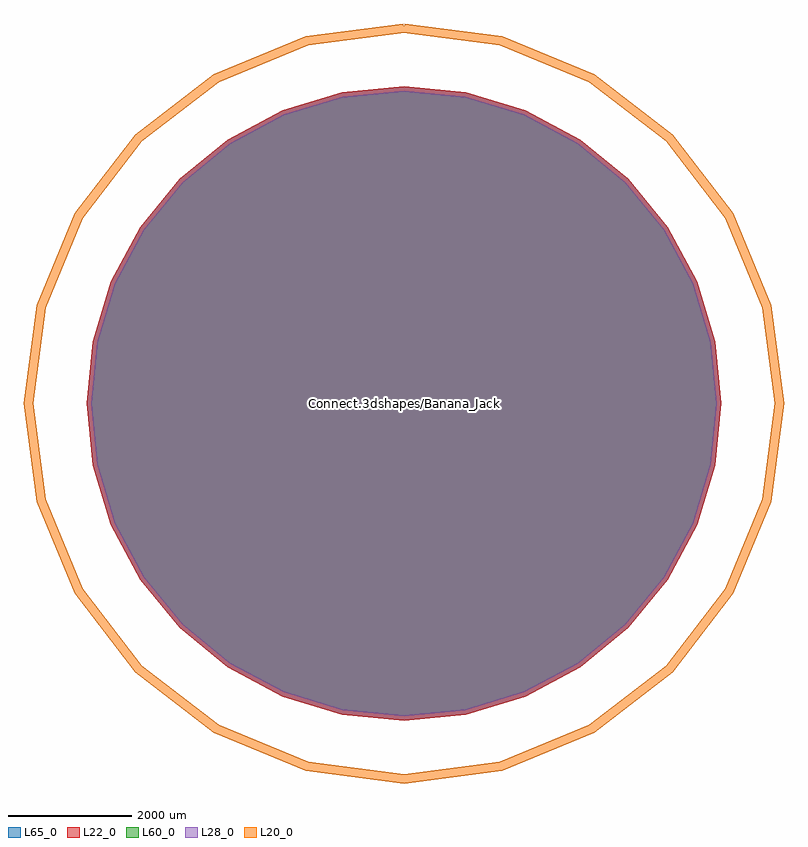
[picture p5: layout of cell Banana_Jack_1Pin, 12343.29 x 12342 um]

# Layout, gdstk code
import gdstk
lib = gdstk.Library(unit=1e-6, precision=1e-09)
def P(c, l, *ps):  # polygons
    for p in ps: c.add(gdstk.Polygon(p, *l))
L20_0 = (20, 0)
L22_0 = (22, 0)
L28_0 = (28, 0)
L60_0 = (60, 0)
L65_0 = (65, 0)

banana_jack_1pin = lib.new_cell('Banana_Jack_1Pin')
P(banana_jack_1pin, L22_0, [(5155,0),(5055.948,1005.691),(4762.599,1972.733),(4286.226,2863.965),(3645.135,3645.135),(2863.965,4286.226),(1972.733,4762.599),(1005.691,5055.948),(0,5155),(-1005.691,5055.948),(-1972.733,4762.599),(-2863.965,4286.226),(-3645.135,3645.135),(-4286.226,2863.965),(-4762.599,1972.733),(-5055.948,1005.691),(-5155,0),(-5055.948,-1005.691),(-4762.599,-1972.733),(-4286.226,-2863.965),(-3645.135,-3645.135),(-2863.965,-4286.226),(-1972.733,-4762.599),(-1005.691,-5055.948),(0,-5155),(1005.691,-5055.948),(1972.733,-4762.599),(2863.965,-4286.226),(3645.135,-3645.135),(4286.226,-2863.965),(4762.599,-1972.733),(5055.948,-1005.691)])
P(banana_jack_1pin, L28_0, [(5080,0),(4982.389,991.059),(4693.308,1944.032),(4223.866,2822.297),(3592.102,3592.102),(2822.297,4223.866),(1944.032,4693.308),(991.059,4982.389),(0,5080),(-991.059,4982.389),(-1944.032,4693.308),(-2822.297,4223.866),(-3592.102,3592.102),(-4223.866,2822.297),(-4693.308,1944.032),(-4982.389,991.059),(-5080,0),(-4982.389,-991.059),(-4693.308,-1944.032),(-4223.866,-2822.297),(-3592.102,-3592.102),(-2822.297,-4223.866),(-1944.032,-4693.308),(-991.059,-4982.389),(0,-5080),(991.059,-4982.389),(1944.032,-4693.308),(2822.297,-4223.866),(3592.102,-3592.102),(4223.866,-2822.297),(4693.308,-1944.032),(4982.389,-991.059)])
P(banana_jack_1pin, L60_0, [(5080,0),(4982.389,991.059),(4693.308,1944.032),(4223.866,2822.297),(3592.102,3592.102),(2822.297,4223.866),(1944.032,4693.308),(991.059,4982.389),(0,5080),(-991.059,4982.389),(-1944.032,4693.308),(-2822.297,4223.866),(-3592.102,3592.102),(-4223.866,2822.297),(-4693.308,1944.032),(-4982.389,991.059),(-5080,0),(-4982.389,-991.059),(-4693.308,-1944.032),(-4223.866,-2822.297),(-3592.102,-3592.102),(-2822.297,-4223.866),(-1944.032,-4693.308),(-991.059,-4982.389),(0,-5080),(991.059,-4982.389),(1944.032,-4693.308),(2822.297,-4223.866),(3592.102,-3592.102),(4223.866,-2822.297),(4693.308,-1944.032),(4982.389,-991.059)])
P(banana_jack_1pin, L65_0, [(5155,0),(5055.948,1005.691),(4762.599,1972.733),(4286.226,2863.965),(3645.135,3645.135),(2863.965,4286.226),(1972.733,4762.599),(1005.691,5055.948),(0,5155),(-1005.691,5055.948),(-1972.733,4762.599),(-2863.965,4286.226),(-3645.135,3645.135),(-4286.226,2863.965),(-4762.599,1972.733),(-5055.948,1005.691),(-5155,0),(-5055.948,-1005.691),(-4762.599,-1972.733),(-4286.226,-2863.965),(-3645.135,-3645.135),(-2863.965,-4286.226),(-1972.733,-4762.599),(-1005.691,-5055.948),(0,-5155),(1005.691,-5055.948),(1972.733,-4762.599),(2863.965,-4286.226),(3645.135,-3645.135),(4286.226,-2863.965),(4762.599,-1972.733),(5055.948,-1005.691)])
banana_jack_1pin.add(gdstk.FlexPath([(0,6096),(-1577.761,5888.284),(-3048,5279.291),(-4310.523,4310.523),(-5279.291,3048),(-5888.284,1577.761),(-6096,0),(-5888.284,-1577.761),(-5279.291,-3048),(-4310.523,-4310.523),(-3048,-5279.291),(-1577.761,-5888.284),(0,-6096),(1577.761,-5888.284),(3048,-5279.291),(4310.523,-4310.523),(5279.291,-3048),(5888.284,-1577.761),(6096,0),(5888.284,1577.761),(5279.291,3048),(4310.523,4310.523),(3048,5279.291),(1577.761,5888.284),(0,6096)], 149.998, ends="flush", simple_path=True, layer=20, datatype=0))  # L20_0
banana_jack_1pin.add(gdstk.Label('Connect.3dshapes/Banana_Jack_1Pin.wrl', (0,0), layer=12, texttype=0))
banana_jack_1pin.add(gdstk.Label('1', (0,0), layer=28, texttype=0))
banana_jack_1pin.add(gdstk.Label('type', (762,8382), layer=9, texttype=0))
banana_jack_1pin.add(gdstk.Label('devicename', (508,6858), layer=9, texttype=0))

lib.write_gds('Banana_Jack_1Pin.gds')
